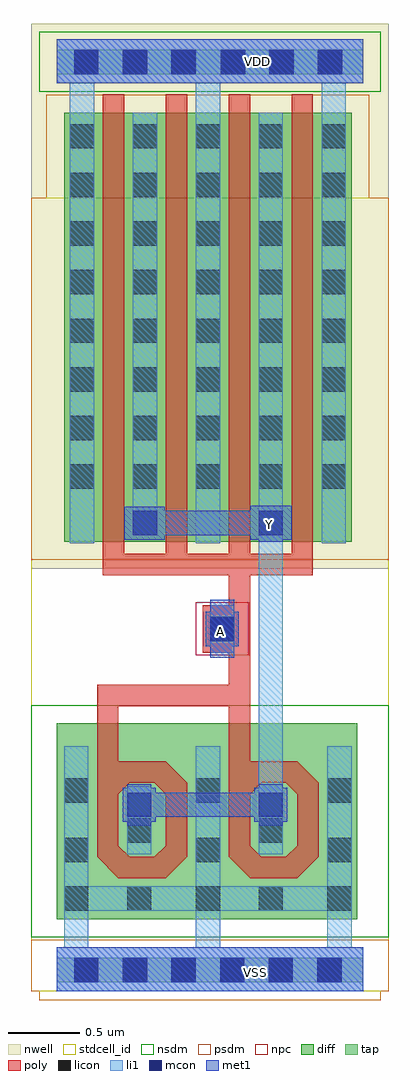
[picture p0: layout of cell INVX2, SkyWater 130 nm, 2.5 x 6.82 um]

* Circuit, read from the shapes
.subckt INVX2 A VDD VSS Y
XM1 VSS A Y VSS sky130_fd_pr__nfet_01v8 w=2.49 l=0.1463
XM2 VSS A Y VSS sky130_fd_pr__nfet_01v8 w=2.49 l=0.1506
XM3 Y A VDD VDD sky130_fd_pr__pfet_01v8 w=3 l=0.15 m=4
.ends

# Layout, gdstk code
import gdstk
lib = gdstk.Library(unit=1e-6, precision=1e-09)
def R(c, l, rs):  # rectangles x0, y0, x1, y1
    for r in rs: c.add(gdstk.rectangle(r[:2], r[2:], *l))
def A(c, l, x, y, w, h, nx, ny, dx, dy):  # array of equal rectangles
    R(c, l, [(x+i*dx, y+j*dy, x+i*dx+w, y+j*dy+h) for i in range(nx) for j in range(ny)])
def P(c, l, *ps):  # polygons
    for p in ps: c.add(gdstk.Polygon(p, *l))
nwell = (64, 20)
diff = (65, 20)
tap = (65, 44)
poly = (66, 20)
licon = (66, 44)
li1 = (67, 20)
mcon = (67, 44)
met1 = (68, 20)
stdcell_id = (81, 4)
nsdm = (93, 44)
psdm = (94, 20)
npc = (95, 20)

invx2 = lib.new_cell('INVX2')
R(invx2, nwell, [(-0.18,2.955,2.32,6.765)])
R(invx2, diff, [(0,0.505,2.1,1.875), (0.05,3.145,2.06,6.145)])
R(invx2, tap, [(0,0.065,2.14,0.235), (0,6.415,2.14,6.585)])
A(invx2, poly, 0.32, 3.06, 0.15, 3.215, 4, 1, 0.44, 0)
R(invx2, poly, [(0.43,0.79,0.76,0.94), (1.35,0.79,1.68,0.94), (0.28,0.94,0.43,1.46), (0.76,0.94,0.91,1.46), (1.2,0.94,1.35,1.46), (1.68,0.94,1.83,1.46), (0.28,1.46,0.76,1.61), (1.2,1.46,1.68,1.61), (0.28,1.61,0.43,1.995), (1.2,1.61,1.35,1.995), (0.28,1.995,1.35,2.145), (1.2,2.145,1.35,2.37), (1.02,2.37,1.35,2.7), (1.2,2.7,1.35,2.91), (0.32,2.91,1.79,3.06)])
P(invx2, poly, [(0.76,1.61),(0.76,1.46),(0.91,1.46)],
  [(0.43,1.38),(0.43,1.46),(0.51,1.46)],
  [(0.68,1.46),(0.76,1.46),(0.76,1.38)],
  [(0.43,1.02),(0.43,0.94),(0.51,0.94)],
  [(0.68,0.94),(0.76,0.94),(0.76,1.02)],
  [(0.28,0.94),(0.43,0.94),(0.43,0.79)],
  [(0.76,0.79),(0.76,0.94),(0.91,0.94)],
  [(1.68,1.61),(1.68,1.46),(1.83,1.46)],
  [(1.35,1.38),(1.35,1.46),(1.43,1.46)],
  [(1.6,1.46),(1.68,1.46),(1.68,1.38)],
  [(1.35,1.02),(1.35,0.94),(1.43,0.94)],
  [(1.6,0.94),(1.68,0.94),(1.68,1.02)],
  [(1.2,0.94),(1.35,0.94),(1.35,0.79)],
  [(1.68,0.79),(1.68,0.94),(1.83,0.94)])
A(invx2, licon, 0.12, 0.065, 0.17, 0.17, 6, 1, 0.34, 0)
A(invx2, licon, 0.05, 0.905, 0.17, 0.17, 3, 2, 0.92, 0.415)
A(invx2, licon, 0.09, 3.515, 0.17, 0.17, 5, 8, 0.44, 0.34)
A(invx2, licon, 0.12, 6.415, 0.17, 0.17, 3, 1, 0.34, 0)
A(invx2, licon, 1.145, 6.415, 0.17, 0.17, 3, 1, 0.34, 0)
R(invx2, licon, [(0.05,0.565,0.22,0.735), (0.49,0.565,0.66,0.735), (0.97,0.565,1.14,0.735), (1.41,0.565,1.58,0.735), (1.89,0.565,2.06,0.735), (0.49,1.04,0.66,1.21), (1.41,1.04,1.58,1.21), (1.07,2.45,1.24,2.62)])
A(invx2, li1, 0.05, 0.31, 0.17, 0.255, 3, 1, 0.92, 0)
A(invx2, li1, 0.05, 0.735, 0.17, 0.98, 3, 1, 0.92, 0)
A(invx2, li1, 0.09, 3.135, 0.17, 3.215, 3, 1, 0.88, 0)
R(invx2, li1, [(0,0,2.14,0.31), (0.05,0.565,2.06,0.735), (0.49,0.96,0.66,1.435), (1.41,0.96,1.58,6.145), (1.07,2.37,1.24,2.7), (0.53,3.19,0.7,6.145), (0,6.35,2.14,6.66)])
A(invx2, mcon, 0.12, 0.065, 0.17, 0.17, 6, 1, 0.34, 0)
A(invx2, mcon, 0.12, 6.415, 0.17, 0.17, 3, 1, 0.34, 0)
A(invx2, mcon, 1.145, 6.415, 0.17, 0.17, 3, 1, 0.34, 0)
R(invx2, mcon, [(0.49,1.22,0.66,1.39), (1.41,1.22,1.58,1.39), (1.07,2.45,1.24,2.62), (0.53,3.19,0.7,3.36), (1.41,3.19,1.58,3.36)])
R(invx2, met1, [(0,0,2.14,0.31), (0.49,1.16,0.66,1.185), (1.41,1.16,1.58,1.185), (0.46,1.185,0.69,1.22), (1.38,1.185,1.61,1.22), (0.46,1.22,1.61,1.39), (0.46,1.39,0.69,1.425), (1.38,1.39,1.61,1.425), (0.49,1.425,0.66,1.45), (1.41,1.425,1.58,1.45), (1.07,2.335,1.24,2.415), (1.04,2.415,1.27,2.655), (1.07,2.655,1.24,2.74), (1.41,3.145,1.58,3.16), (0.47,3.16,0.755,3.19), (1.35,3.16,1.64,3.19), (0.47,3.19,1.64,3.36), (0.47,3.36,0.755,3.39), (1.35,3.36,1.64,3.395), (0,6.35,2.14,6.66)])
R(invx2, stdcell_id, [(-0.18,0,2.32,5.55)])
R(invx2, nsdm, [(-0.18,0.38,2.32,2), (-0.125,6.29,2.265,6.71)])
R(invx2, psdm, [(-0.125,-0.06,2.265,0), (-0.18,0,2.32,0.36), (-0.18,3.02,2.32,5.55), (-0.075,5.55,2.185,6.27)])
R(invx2, npc, [(0.97,2.35,1.34,2.72)])
invx2.add(gdstk.Label('VDD', (1.405,6.505), layer=68, texttype=5))
invx2.add(gdstk.Label('A', (1.145,2.515), layer=68, texttype=5))
invx2.add(gdstk.Label('Y', (1.485,3.265), layer=68, texttype=5))
invx2.add(gdstk.Label('VSS', (1.39,0.13), layer=68, texttype=5))

lib.write_gds('INVX2.gds')
